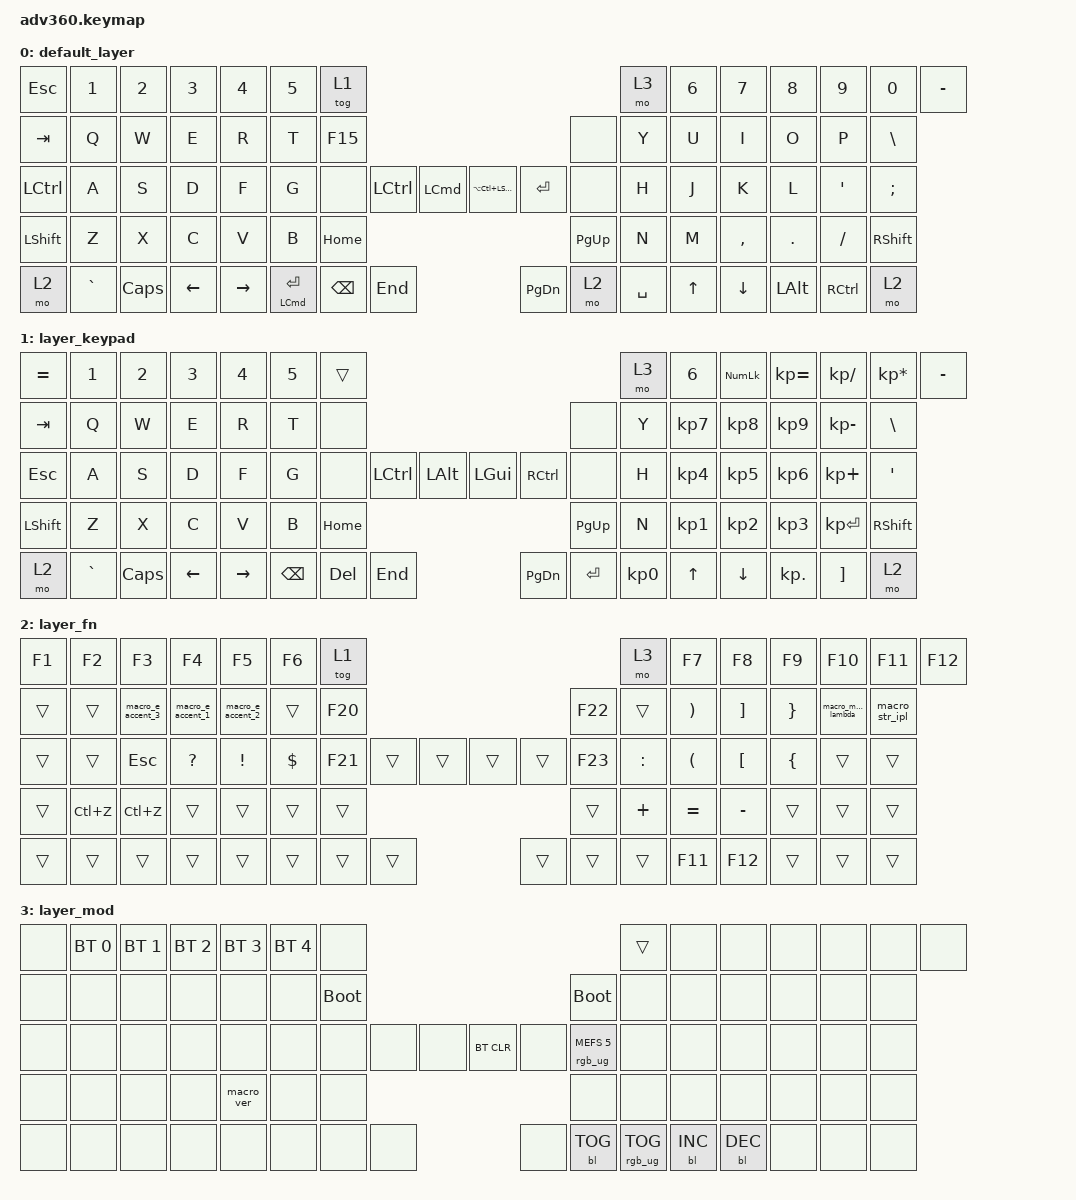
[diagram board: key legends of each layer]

/*
 * Copyright (c) 2020 The ZMK Contributors
 *
 * SPDX-License-Identifier: MIT
 */


/* THIS FILE WAS GENERATED!
 *
 * This file was generated automatically. You may or may not want to
 * edit it directly.
 */

#include <behaviors.dtsi>
#include <dt-bindings/zmk/keys.h>
#include <dt-bindings/zmk/bt.h>
#include <dt-bindings/zmk/rgb.h>
#include <dt-bindings/zmk/backlight.h>

/ {
  behaviors {
    #include "macros.dtsi"
    #include "version.dtsi"

    hm: homerow_mods {
        compatible = "zmk,behavior-hold-tap";
        label = "HOMEROW_MODS";
        #binding-cells = <2>;
        tapping-term-ms = <200>;
        quick_tap_ms = <175>;
        flavor = "tap-preferred";
        bindings = <&kp>, <&kp>;
    };
  };

    keymap {
        compatible = "zmk,keymap";


        default_layer {
            bindings = <
   &kp ESC     &kp N1    &kp N2    &kp N3     &kp N4  &kp N5                    &tog 1                                                                         &mo 3  &kp N6  &kp N7     &kp N8        &kp N9     &kp N0  &kp MINUS
   &kp TAB      &kp Q     &kp W     &kp E      &kp R   &kp T                   &kp F15                                                                         &none   &kp Y   &kp U      &kp I         &kp O      &kp P   &kp BSLH
 &kp LCTRL      &kp A     &kp S     &kp D      &kp F   &kp G                     &none  &kp LCTRL  &kp LCMD                  &kp LA(LC(LSHFT))  &kp ENTER      &none   &kp H   &kp J      &kp K         &kp L    &kp SQT   &kp SEMI
 &kp LSHFT      &kp Z     &kp X     &kp C      &kp V   &kp B                                       &kp HOME                          &kp PG_UP                         &kp N   &kp M  &kp COMMA       &kp DOT   &kp FSLH  &kp RSHFT
     &mo 2  &kp GRAVE  &kp CAPS  &kp LEFT  &kp RIGHT                    &mt LCMD ENTER   &kp BSPC   &kp END                          &kp PG_DN      &mo 2  &kp SPACE          &kp UP   &kp DOWN  &kp LEFT_ALT  &kp RCTRL      &mo 2
            >;
        };

        layer_keypad {
            bindings = <
 &kp EQUAL     &kp N1    &kp N2    &kp N3     &kp N4  &kp N5              &trans                                                                 &mo 3  &kp N6  &kp KP_NUM  &kp KP_EQUAL  &kp KP_DIVIDE  &kp KP_MULTIPLY  &kp MINUS
   &kp TAB      &kp Q     &kp W     &kp E      &kp R   &kp T               &none                                                                 &none   &kp Y   &kp KP_N7     &kp KP_N8      &kp KP_N9     &kp KP_MINUS   &kp BSLH
   &kp ESC      &kp A     &kp S     &kp D      &kp F   &kp G               &none  &kp LCTRL  &kp LALT                   &kp LGUI  &kp RCTRL      &none   &kp H   &kp KP_N4     &kp KP_N5      &kp KP_N6      &kp KP_PLUS    &kp SQT
 &kp LSHFT      &kp Z     &kp X     &kp C      &kp V   &kp B                                 &kp HOME                  &kp PG_UP                         &kp N   &kp KP_N1     &kp KP_N2      &kp KP_N3     &kp KP_ENTER  &kp RSHFT
     &mo 2  &kp GRAVE  &kp CAPS  &kp LEFT  &kp RIGHT                    &kp BSPC    &kp DEL   &kp END                  &kp PG_DN  &kp ENTER  &kp KP_N0              &kp UP      &kp DOWN     &kp KP_DOT         &kp RBKT      &mo 2
            >;
        };

        layer_fn {
            bindings = <
 &kp F1     &kp F2             &kp F3             &kp F4             &kp F5    &kp F6             &tog 1                                                    &mo 3     &kp F7                 &kp F8             &kp F9          &kp F10              &kp F11         &kp F12
 &trans     &trans  &macro_e_accent_3  &macro_e_accent_1  &macro_e_accent_2    &trans            &kp F20                                                  &kp F22     &trans  &kp RIGHT_PARENTHESIS  &kp RIGHT_BRACKET  &kp RIGHT_BRACE  &macro_macro_lambda  &macro_str_ipl
 &trans     &trans            &kp ESC          &kp QMARK           &kp EXCL  &kp DLLR            &kp F21  &trans  &trans                  &trans  &trans  &kp F23  &kp COLON   &kp LEFT_PARENTHESIS   &kp LEFT_BRACKET   &kp LEFT_BRACE               &trans          &trans
 &trans  &kp LC(Z)          &kp LC(Z)             &trans             &trans    &trans                             &trans                  &trans                    &kp PLUS              &kp EQUAL          &kp MINUS           &trans               &trans          &trans
 &trans     &trans             &trans             &trans             &trans                       &trans  &trans  &trans                  &trans  &trans   &trans                           &kp F11            &kp F12           &trans               &trans          &trans
            >;
        };

        layer_mod {
            bindings = <
  &none  &bt BT_SEL 0  &bt BT_SEL 1  &bt BT_SEL 2  &bt BT_SEL 3  &bt BT_SEL 4                  &none                                                                          &trans   &none       &none       &none   &none   &none   &none
  &none         &none         &none         &none         &none         &none            &bootloader                                                                     &bootloader   &none       &none       &none   &none   &none   &none
  &none         &none         &none         &none         &none         &none                  &none   &none   &none                  &bt BT_CLR       &none  &rgb_ug RGB_MEFS_CMD 5   &none       &none       &none   &none   &none   &none
  &none         &none         &none         &none    &macro_ver         &none                                  &none                       &none                                       &none       &none       &none   &none   &none   &none
  &none         &none         &none         &none         &none                                &none   &none   &none                       &none  &bl BL_TOG         &rgb_ug RGB_TOG          &bl BL_INC  &bl BL_DEC   &none   &none   &none
            >;
        };

    };
};
